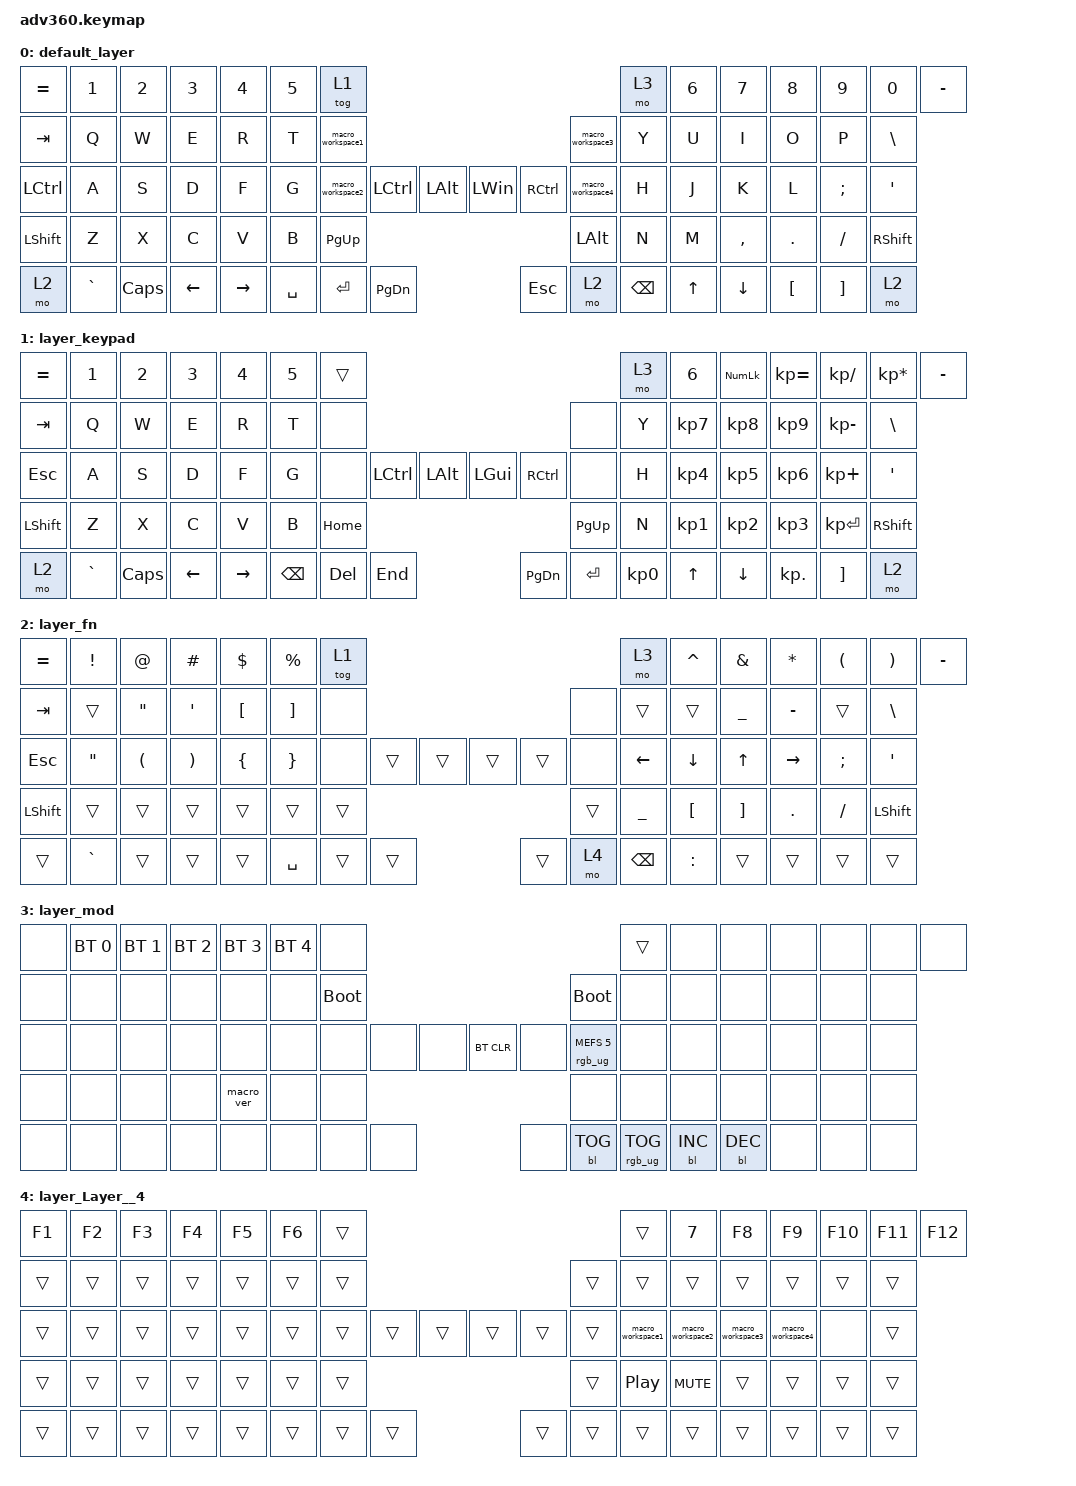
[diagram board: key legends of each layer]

/*
 * Copyright (c) 2020 The ZMK Contributors
 *
 * SPDX-License-Identifier: MIT
 */


/* THIS FILE WAS GENERATED!
 *
 * This file was generated automatically. You may or may not want to
 * edit it directly.
 */

#include <behaviors.dtsi>
#include <dt-bindings/zmk/keys.h>
#include <dt-bindings/zmk/bt.h>
#include <dt-bindings/zmk/rgb.h>
#include <dt-bindings/zmk/backlight.h>

/ {
  behaviors {
    #include "macros.dtsi"
    #include "version.dtsi"

    hm: homerow_mods {
        compatible = "zmk,behavior-hold-tap";
        label = "HOMEROW_MODS";
        #binding-cells = <2>;
        tapping-term-ms = <200>;
        quick_tap_ms = <175>;
        flavor = "tap-preferred";
        bindings = <&kp>, <&kp>;
    };
  };

    keymap {
        compatible = "zmk,keymap";


        default_layer {
            bindings = <
 &kp EQUAL     &kp N1    &kp N2    &kp N3     &kp N4  &kp N5                       &tog 1                                                                                 &mo 3  &kp N6  &kp N7     &kp N8    &kp N9    &kp N0  &kp MINUS
   &kp TAB      &kp Q     &kp W     &kp E      &kp R   &kp T            &macro_workspace1                                                                     &macro_workspace3   &kp Y   &kp U      &kp I     &kp O     &kp P   &kp BSLH
 &kp LCTRL      &kp A     &kp S     &kp D      &kp F   &kp G            &macro_workspace2  &kp LCTRL       &kp LALT                  &kp LEFT_WIN  &kp RCTRL  &macro_workspace4   &kp H   &kp J      &kp K     &kp L  &kp SEMI    &kp SQT
 &kp LSHFT      &kp Z     &kp X     &kp C      &kp V   &kp B                                            &kp PAGE_UP                      &kp LALT                                 &kp N   &kp M  &kp COMMA   &kp DOT  &kp FSLH  &kp RSHFT
     &mo 2  &kp GRAVE  &kp CAPS  &kp LEFT  &kp RIGHT                            &kp SPACE  &kp ENTER  &kp PAGE_DOWN                       &kp ESC      &mo 2           &kp BSPC          &kp UP   &kp DOWN  &kp LBKT  &kp RBKT      &mo 2
            >;
        };

        layer_keypad {
            bindings = <
 &kp EQUAL     &kp N1    &kp N2    &kp N3     &kp N4  &kp N5              &trans                                                                 &mo 3  &kp N6  &kp KP_NUM  &kp KP_EQUAL  &kp KP_DIVIDE  &kp KP_MULTIPLY  &kp MINUS
   &kp TAB      &kp Q     &kp W     &kp E      &kp R   &kp T               &none                                                                 &none   &kp Y   &kp KP_N7     &kp KP_N8      &kp KP_N9     &kp KP_MINUS   &kp BSLH
   &kp ESC      &kp A     &kp S     &kp D      &kp F   &kp G               &none  &kp LCTRL  &kp LALT                   &kp LGUI  &kp RCTRL      &none   &kp H   &kp KP_N4     &kp KP_N5      &kp KP_N6      &kp KP_PLUS    &kp SQT
 &kp LSHFT      &kp Z     &kp X     &kp C      &kp V   &kp B                                 &kp HOME                  &kp PG_UP                         &kp N   &kp KP_N1     &kp KP_N2      &kp KP_N3     &kp KP_ENTER  &kp RSHFT
     &mo 2  &kp GRAVE  &kp CAPS  &kp LEFT  &kp RIGHT                    &kp BSPC    &kp DEL   &kp END                  &kp PG_DN  &kp ENTER  &kp KP_N0              &kp UP      &kp DOWN     &kp KP_DOT         &kp RBKT      &mo 2
            >;
        };

        layer_fn {
            bindings = <
      &kp EQUAL           &kp EXCL                &kp AT               &kp HASH        &kp DOLLAR        &kp PERCENT               &tog 1                                                     &mo 3       &kp CARET          &kp AMPS           &kp STAR  &kp LEFT_PARENTHESIS  &kp RIGHT_PARENTHESIS       &kp MINUS
        &kp TAB             &trans     &kp DOUBLE_QUOTES       &kp SINGLE_QUOTE  &kp LEFT_BRACKET  &kp RIGHT_BRACKET                &none                                                     &none          &trans            &trans     &kp UNDERSCORE             &kp MINUS                 &trans        &kp BSLH
        &kp ESC  &kp DOUBLE_QUOTES  &kp LEFT_PARENTHESIS  &kp RIGHT_PARENTHESIS    &kp LEFT_BRACE    &kp RIGHT_BRACE                &none  &trans  &trans                  &trans  &trans     &none        &kp LEFT          &kp DOWN             &kp UP             &kp RIGHT               &kp SEMI         &kp SQT
 &kp LEFT_SHIFT             &trans                &trans                 &trans            &trans             &trans                               &trans                  &trans                    &kp UNDERSCORE  &kp LEFT_BRACKET  &kp RIGHT_BRACKET               &kp DOT               &kp FSLH  &kp LEFT_SHIFT
         &trans          &kp GRAVE                &trans                 &trans            &trans                               &kp SPACE  &trans  &trans                  &trans   &mo 4  &kp BSPC                         &kp COLON             &trans                &trans                 &trans          &trans
            >;
        };

        layer_mod {
            bindings = <
  &none  &bt BT_SEL 0  &bt BT_SEL 1  &bt BT_SEL 2  &bt BT_SEL 3  &bt BT_SEL 4                  &none                                                                          &trans   &none       &none       &none   &none   &none   &none
  &none         &none         &none         &none         &none         &none            &bootloader                                                                     &bootloader   &none       &none       &none   &none   &none   &none
  &none         &none         &none         &none         &none         &none                  &none   &none   &none                  &bt BT_CLR       &none  &rgb_ug RGB_MEFS_CMD 5   &none       &none       &none   &none   &none   &none
  &none         &none         &none         &none    &macro_ver         &none                                  &none                       &none                                       &none       &none       &none   &none   &none   &none
  &none         &none         &none         &none         &none                                &none   &none   &none                       &none  &bl BL_TOG         &rgb_ug RGB_TOG          &bl BL_INC  &bl BL_DEC   &none   &none   &none
            >;
        };

        layer_Layer__4 {
            bindings = <
 &kp F1  &kp F2  &kp F3  &kp F4  &kp F5  &kp F6            &trans                                                  &trans       &kp NUMBER_7             &kp F8             &kp F9            &kp F10  &kp F11  &kp F12
 &trans  &trans  &trans  &trans  &trans  &trans            &trans                                                  &trans             &trans             &trans             &trans             &trans   &trans   &trans
 &trans  &trans  &trans  &trans  &trans  &trans            &trans  &trans  &trans                  &trans  &trans  &trans  &macro_workspace1  &macro_workspace2  &macro_workspace3  &macro_workspace4    &none   &trans
 &trans  &trans  &trans  &trans  &trans  &trans                            &trans                  &trans                   &kp C_PLAY_PAUSE         &kp C_MUTE             &trans             &trans   &trans   &trans
 &trans  &trans  &trans  &trans  &trans                    &trans  &trans  &trans                  &trans  &trans  &trans                                &trans             &trans             &trans   &trans   &trans
            >;
        };

    };
};
